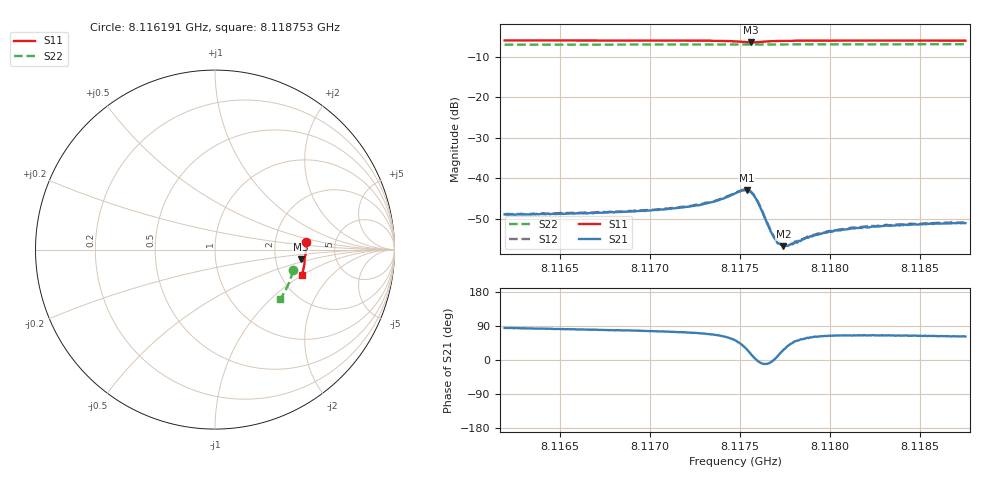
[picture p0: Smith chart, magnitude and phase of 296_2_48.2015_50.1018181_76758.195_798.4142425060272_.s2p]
#  HZ  S  RI  R  50.00
! Rohde & Schwarz Vector Network Analyzer
! Rohde-Schwarz,ZNB20-2Port,1311601062101988,3.16
! Created: UTC 3/20/2024, 11:49:17 AM
! freq[Hz]  re:S11  im:S11  re:S21  im:S21  re:S12  im:S12  re:S22  im:S22
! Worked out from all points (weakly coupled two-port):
!   401 points, 8.116191 GHz to 8.118753 GHz, reference 50 ohm
!   highest |S21| = -42.99 dB at 8.117536 GHz (marker M1); lowest = -56.8 dB at 8.117741 GHz (marker M2)
!   lowest |S11| = -6.4 dB at 8.117562 GHz (marker M3), VSWR 2.84, Z = 139 - j19.3 ohm
!   |S11| at or under -10 dB: nowhere
!   |S22| runs from -7.0 to -6.8 dB; largest |S21 - S12| = 0.00019
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8.116191e9  0.5051 0.0439  0.000333 0.00355  0.000413 0.00354  0.4341 -0.1146
8.1166201e9  0.5062 0.0115  0.000619 0.00363  0.000684 0.00368  0.4267 -0.1435
8.1168378e9  0.506 -0.00529  0.000774 0.00373  0.000833 0.00378  0.4221 -0.1579
8.1170492e9  0.505 -0.0219  0.00102 0.00393  0.00107 0.00399  0.4174 -0.1718
8.1172798e9  0.5023 -0.0414  0.00158 0.00441  0.00162 0.00445  0.4114 -0.1869
8.1173694e9  0.4993 -0.0501  0.00218 0.00479  0.00225 0.00485  0.4089 -0.1927
8.1174719e9  0.4908 -0.0604  0.00399 0.0051  0.00409 0.00513  0.4056 -0.1994
8.1175103e9  0.4839 -0.0616  0.00533 0.00453  0.0055 0.00454  0.4042 -0.2016
8.1175359e9  0.4788 -0.0591  0.00621 0.00342  0.00635 0.00341  0.4034 -0.203
8.1175616e9  0.4766 -0.0534  0.00644 0.00171  0.00657 0.00173  0.4027 -0.204
8.1175808e9  0.4781 -0.0489  0.00589 0.000511  0.00602 0.000462  0.4023 -0.2053
8.1176e9  0.4816 -0.0459  0.00497 -0.000287  0.0051 -0.000288  0.4019 -0.2062
8.117664e9  0.4931 -0.0487  0.00234 -0.000317  0.0024 -0.000362  0.4006 -0.2104
8.1176897e9  0.4954 -0.0518  0.00183 3.04e-05  0.00187 3.86e-05  0.3998 -0.2121
8.1177153e9  0.4971 -0.0549  0.00151 0.000355  0.00151 0.000353  0.3991 -0.2139
8.1177409e9  0.4979 -0.058  0.00129 0.000648  0.00133 0.000637  0.3985 -0.2154
8.1177793e9  0.4986 -0.0623  0.00112 0.00102  0.00116 0.000993  0.3973 -0.2179
8.117901e9  0.4986 -0.074  0.000953 0.00164  0.001 0.00167  0.3935 -0.2257
8.1179907e9  0.4979 -0.0818  0.000957 0.00195  0.00102 0.00196  0.3905 -0.2313
8.1181188e9  0.4963 -0.0923  0.00104 0.00215  0.00105 0.0022  0.3861 -0.2392
8.1183301e9  0.4931 -0.1084  0.00111 0.00236  0.00113 0.00236  0.3786 -0.252
8.1187528e9  0.4849 -0.1395  0.0013 0.00245  0.00134 0.00254  0.3625 -0.2768
